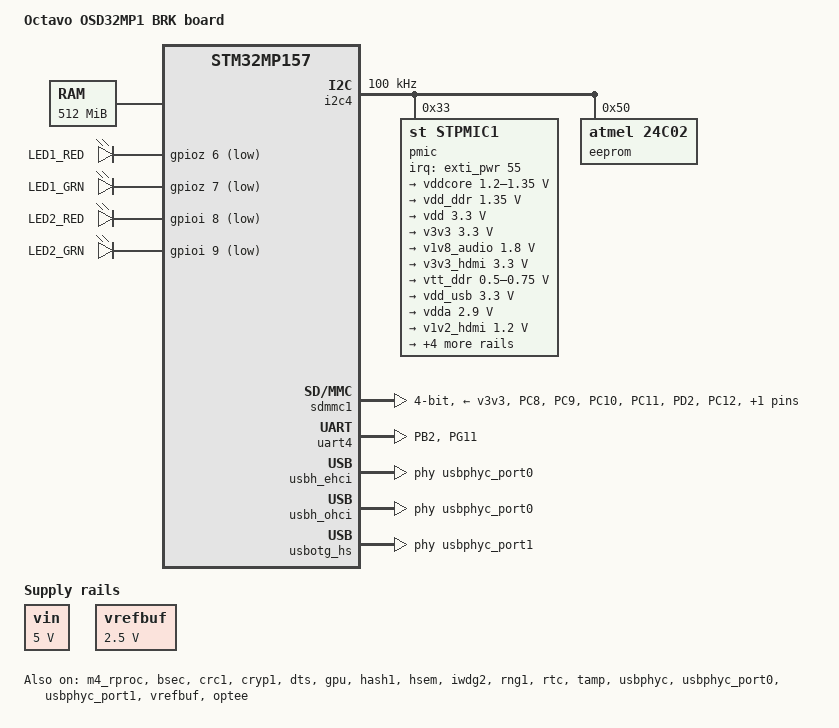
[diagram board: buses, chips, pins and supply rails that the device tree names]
/* SPDX-License-Identifier: (GPL-2.0+ OR BSD-3-Clause) */
/*
 * Copyright (C) STMicroelectronics 2020 - All Rights Reserved
 * Author: STM32CubeMX code generation for STMicroelectronics.
 */

/* For more information on Device Tree configuration, please refer to
 * https://wiki.st.com/stm32mpu/wiki/Category:Device_tree_configuration
 */

/dts-v1/;
#include <dt-bindings/pinctrl/stm32-pinfunc.h>

#include "stm32mp157.dtsi"
#include "stm32mp15xc.dtsi"
#include "stm32mp15xxac-pinctrl.dtsi"
#include "stm32mp157-m4-srm.dtsi"

/* USER CODE BEGIN includes */
#include <dt-bindings/mfd/st,stpmic1.h>
#include <dt-bindings/rtc/rtc-stm32.h>
/* USER CODE END includes */

/ {
	model = "Octavo OSD32MP1 BRK board";
	compatible = "st,stm32mp157c-osd32mp1-brk", "st,stm32mp157";

	memory@c0000000 {
		device_type = "memory";
		reg = <0xc0000000 0x20000000>;

		/* USER CODE BEGIN memory */
		/* USER CODE END memory */
	};

	reserved-memory {
		#address-cells = <1>;
		#size-cells = <1>;
		ranges;

		/* USER CODE BEGIN reserved-memory */

		mcuram2:mcuram2@10000000{
			compatible = "shared-dma-pool";
			reg = <0x10000000 0x40000>;
			no-map;
		};

		vdev0vring0:vdev0vring0@10040000{
			compatible = "shared-dma-pool";
			reg = <0x10040000 0x1000>;
			no-map;
		};

		vdev0vring1:vdev0vring1@10041000{
			compatible = "shared-dma-pool";
			reg = <0x10041000 0x1000>;
			no-map;
		};

		vdev0buffer:vdev0buffer@10042000{
			compatible = "shared-dma-pool";
			reg = <0x10042000 0x4000>;
			no-map;
		};

		mcuram:mcuram@30000000{
			compatible = "shared-dma-pool";
			reg = <0x30000000 0x40000>;
			no-map;
		};

		retram:retram@38000000{
			compatible = "shared-dma-pool";
			reg = <0x38000000 0x10000>;
			no-map;
		};

		gpu_reserved:gpu@da000000{
			reg = <0xda000000 0x4000000>;
			no-map;
		};

		optee_memory:optee@0xde000000{
			reg = <0xde000000 0x02000000>;
			no-map;
			status = "okay";
		};
		/* USER CODE END reserved-memory */
	};

	/* USER CODE BEGIN root */

	led{
		compatible = "gpio-leds";

		red1{
			label = "LED1_RED";
			gpios = <&gpioz 6 GPIO_ACTIVE_LOW>;
			linux,default-trigger = "heartbeat";
			status = "okay";
			default-state = "off";
		};
		
		green1{
			label = "LED1_GRN";
			gpios = <&gpioz 7 GPIO_ACTIVE_LOW>;
			status = "okay";
			default-state = "on";
		};
		
		red2{
			label = "LED2_RED";
			gpios = <&gpioi 8 GPIO_ACTIVE_LOW>;
			status = "okay";
			default-state = "off";
		};
				
		green2{
			label = "LED2_GRN";
			gpios = <&gpioi 9 GPIO_ACTIVE_LOW>;
			default-state = "off";
		};
	};

	usb_phy_tuning:usb-phy-tuning{
		st,hs-dc-level = <2>;
		st,fs-rftime-tuning;
		st,hs-rftime-reduction;
		st,hs-current-trim = <15>;
		st,hs-impedance-trim = <1>;
		st,squelch-level = <3>;
		st,hs-rx-offset = <2>;
		st,no-lsfs-sc;
	};

	vin:vin{
		compatible = "regulator-fixed";
		regulator-name = "vin";
		regulator-min-microvolt = <5000000>;
		regulator-max-microvolt = <5000000>;
		regulator-always-on;
	};

	aliases{
		ethernet0 = &ethernet0;
		serial0 = &uart4;
	};

	chosen{
		stdout-path = "serial0:115200n8";
	};

	/* USER CODE END root */

	clocks {

		/* USER CODE BEGIN clocks */
		/* USER CODE END clocks */

#ifndef CONFIG_STM32MP1_TRUSTED
		clk_lsi: clk-lsi {
			clock-frequency = <32000>;
		};
		clk_hsi: clk-hsi {
			clock-frequency = <64000000>;
		};
		clk_csi: clk-csi {
			clock-frequency = <4000000>;
		};
		clk_lse: clk-lse {
			clock-frequency = <32768>;
		};
		clk_hse: clk-hse {
			clock-frequency = <24000000>;
		};
#endif	/*CONFIG_STM32MP1_TRUSTED*/
	};

}; /*root*/

&pinctrl {
	u-boot,dm-pre-reloc;

	rtc_pins_mx: rtc_mx-0 {
		pins {
			pinmux = <STM32_PINMUX('I', 8, ANALOG)>; /* RTC_LSCO */
		};
	};

	rtc_sleep_pins_mx: rtc_sleep_mx-0 {
		pins {
			pinmux = <STM32_PINMUX('I', 8, ANALOG)>; /* RTC_LSCO */
		};
	};

	sdmmc1_pins_mx: sdmmc1_mx-0 {
		u-boot,dm-pre-reloc;
		pins1 {
			u-boot,dm-pre-reloc;
			pinmux = <STM32_PINMUX('C', 8, AF12)>, /* SDMMC1_D0 */
					 <STM32_PINMUX('C', 9, AF12)>, /* SDMMC1_D1 */
					 <STM32_PINMUX('C', 10, AF12)>, /* SDMMC1_D2 */
					 <STM32_PINMUX('C', 11, AF12)>, /* SDMMC1_D3 */
					 <STM32_PINMUX('D', 2, AF12)>; /* SDMMC1_CMD */
			bias-disable;
			drive-push-pull;
			slew-rate = <1>;
		};
		pins2 {
			u-boot,dm-pre-reloc;
			pinmux = <STM32_PINMUX('C', 12, AF12)>; /* SDMMC1_CK */
			bias-disable;
			drive-push-pull;
			slew-rate = <2>;
		};
	};

	sdmmc1_opendrain_pins_mx: sdmmc1_opendrain_mx-0 {
		u-boot,dm-pre-reloc;
		pins1 {
			u-boot,dm-pre-reloc;
			pinmux = <STM32_PINMUX('C', 8, AF12)>, /* SDMMC1_D0 */
					 <STM32_PINMUX('C', 9, AF12)>, /* SDMMC1_D1 */
					 <STM32_PINMUX('C', 10, AF12)>, /* SDMMC1_D2 */
					 <STM32_PINMUX('C', 11, AF12)>; /* SDMMC1_D3 */
			bias-disable;
			drive-push-pull;
			slew-rate = <1>;
		};
		pins2 {
			u-boot,dm-pre-reloc;
			pinmux = <STM32_PINMUX('C', 12, AF12)>; /* SDMMC1_CK */
			bias-disable;
			drive-push-pull;
			slew-rate = <2>;
		};
		pins3 {
			u-boot,dm-pre-reloc;
			pinmux = <STM32_PINMUX('D', 2, AF12)>; /* SDMMC1_CMD */
			bias-disable;
			drive-open-drain;
			slew-rate = <1>;
		};
	};

	sdmmc1_sleep_pins_mx: sdmmc1_sleep_mx-0 {
		u-boot,dm-pre-reloc;
		pins {
			u-boot,dm-pre-reloc;
			pinmux = <STM32_PINMUX('C', 8, ANALOG)>, /* SDMMC1_D0 */
					 <STM32_PINMUX('C', 9, ANALOG)>, /* SDMMC1_D1 */
					 <STM32_PINMUX('C', 10, ANALOG)>, /* SDMMC1_D2 */
					 <STM32_PINMUX('C', 11, ANALOG)>, /* SDMMC1_D3 */
					 <STM32_PINMUX('C', 12, ANALOG)>, /* SDMMC1_CK */
					 <STM32_PINMUX('D', 2, ANALOG)>; /* SDMMC1_CMD */
		};
	};

	uart4_pins_mx: uart4_mx-0 {
		u-boot,dm-pre-reloc;
		pins1 {
			u-boot,dm-pre-reloc;
			pinmux = <STM32_PINMUX('B', 2, AF8)>; /* UART4_RX */
			bias-disable;
		};
		pins2 {
			u-boot,dm-pre-reloc;
			pinmux = <STM32_PINMUX('G', 11, AF6)>; /* UART4_TX */
			bias-disable;
			drive-push-pull;
			slew-rate = <0>;
		};
	};

	uart4_sleep_pins_mx: uart4_sleep_mx-0 {
		u-boot,dm-pre-reloc;
		pins {
			u-boot,dm-pre-reloc;
			pinmux = <STM32_PINMUX('B', 2, ANALOG)>, /* UART4_RX */
					 <STM32_PINMUX('G', 11, ANALOG)>; /* UART4_TX */
		};
	};

	/* USER CODE BEGIN pinctrl */
	/* USER CODE END pinctrl */
};

&pinctrl_z {
	u-boot,dm-pre-reloc;

	i2c4_pins_z_mx: i2c4_mx-0 {
		u-boot,dm-pre-reloc;
		pins {
			u-boot,dm-pre-reloc;
			pinmux = <STM32_PINMUX('Z', 4, AF6)>, /* I2C4_SCL */
					 <STM32_PINMUX('Z', 5, AF6)>; /* I2C4_SDA */
			bias-disable;
			drive-open-drain;
			slew-rate = <0>;
		};
	};

	i2c4_sleep_pins_z_mx: i2c4_sleep_mx-0 {
		u-boot,dm-pre-reloc;
		pins {
			u-boot,dm-pre-reloc;
			pinmux = <STM32_PINMUX('Z', 4, ANALOG)>, /* I2C4_SCL */
					 <STM32_PINMUX('Z', 5, ANALOG)>; /* I2C4_SDA */
		};
	};

	/* USER CODE BEGIN pinctrl_z */
	/* USER CODE END pinctrl_z */
};

&m4_rproc{
	/*Restriction: "memory-region" property is not managed - please to use User-Section if needed*/
	mboxes = <&ipcc 0>, <&ipcc 1>, <&ipcc 2>;
	mbox-names = "vq0", "vq1", "shutdown";
	status = "okay";

	/* USER CODE BEGIN m4_rproc */
	memory-region = <&retram>, <&mcuram>, <&mcuram2>, <&vdev0vring0>,
			<&vdev0vring1>, <&vdev0buffer>;
	interrupt-parent = <&exti>;
	interrupts = <68 1>;
	wakeup-source;
	/* USER CODE END m4_rproc */
};

&bsec{
	status = "okay";

	/* USER CODE BEGIN bsec */
	/* USER CODE END bsec */
};

&crc1{
	status = "okay";

	/* USER CODE BEGIN crc1 */
	/* USER CODE END crc1 */
};

&cryp1{
	u-boot,dm-pre-reloc;
	status = "okay";

	/* USER CODE BEGIN cryp1 */
	/* USER CODE END cryp1 */
};

&dma1{
	status = "okay";

	/* USER CODE BEGIN dma1 */
	sram = <&dma_pool>;
	/* USER CODE END dma1 */
};

&dma2{
	status = "okay";

	/* USER CODE BEGIN dma2 */
	sram = <&dma_pool>;
	/* USER CODE END dma2 */
};

&dmamux1{

	dma-masters = <&dma1 &dma2>;
	dma-channels = <16>;

	status = "okay";

	/* USER CODE BEGIN dmamux1 */
	/* USER CODE END dmamux1 */
};

&dts{
	status = "okay";

	/* USER CODE BEGIN dts */
	/* USER CODE END dts */
};

&gpu{
	status = "okay";

	/* USER CODE BEGIN gpu */
	contiguous-area = <&gpu_reserved>;
	/* USER CODE END gpu */
};

&hash1{
	u-boot,dm-pre-reloc;
	status = "okay";

	/* USER CODE BEGIN hash1 */
	/* USER CODE END hash1 */
};

&hsem{
	status = "okay";

	/* USER CODE BEGIN hsem */
	/* USER CODE END hsem */
};

&i2c4{
	u-boot,dm-pre-reloc;
	pinctrl-names = "default", "sleep";
	pinctrl-0 = <&i2c4_pins_z_mx>;
	pinctrl-1 = <&i2c4_sleep_pins_z_mx>;
	status = "okay";

	/* USER CODE BEGIN i2c4 */
	i2c-scl-rising-time-ns = <185>;
	i2c-scl-falling-time-ns = <20>;
	clock-frequency = <100000>;
	/delete-property/ dmas;
	/delete-property/ dma-names;

	pmic:stpmic@33{
		compatible = "st,stpmic1";
		reg = <0x33>;
		interrupts-extended = <&exti_pwr 55 IRQ_TYPE_EDGE_FALLING>;
		interrupt-controller;
		#interrupt-cells = <2>;
		status = "okay";

		regulators{
			compatible = "st,stpmic1-regulators";
			buck1-supply = <&vin>;
			buck2-supply = <&vin>;
			buck3-supply = <&vin>;
			buck4-supply = <&vin>;
			ldo1-supply = <&v3v3>;
			ldo2-supply = <&vin>;
			ldo3-supply = <&vdd_ddr>;
			ldo4-supply = <&vin>;
			ldo5-supply = <&vin>;
			ldo6-supply = <&v3v3>;
			vref_ddr-supply = <&vin>;
			boost-supply = <&vin>;
			pwr_sw1-supply = <&bst_out>;
			pwr_sw2-supply = <&bst_out>;

			vddcore:buck1{
				regulator-name = "vddcore";
				regulator-min-microvolt = <1200000>;
				regulator-max-microvolt = <1350000>;
				regulator-always-on;
				regulator-initial-mode = <0>;
				regulator-over-current-protection;
			};

			vdd_ddr:buck2{
				regulator-name = "vdd_ddr";
				regulator-min-microvolt = <1350000>;
				regulator-max-microvolt = <1350000>;
				regulator-always-on;
				regulator-initial-mode = <0>;
				regulator-over-current-protection;
			};

			vdd:buck3{
				regulator-name = "vdd";
				regulator-min-microvolt = <3300000>;
				regulator-max-microvolt = <3300000>;
				regulator-always-on;
				st,mask-reset;
				regulator-initial-mode = <0>;
				regulator-over-current-protection;
			};

			v3v3:buck4{
				regulator-name = "v3v3";
				regulator-min-microvolt = <3300000>;
				regulator-max-microvolt = <3300000>;
				regulator-always-on;
				regulator-over-current-protection;
				regulator-initial-mode = <0>;
			};

			v1v8_audio:ldo1{
				regulator-name = "v1v8_audio";
				regulator-min-microvolt = <1800000>;
				regulator-max-microvolt = <1800000>;
				regulator-always-on;
				interrupts = <IT_CURLIM_LDO1 0>;
			};

			v3v3_hdmi:ldo2{
				regulator-name = "v3v3_hdmi";
				regulator-min-microvolt = <3300000>;
				regulator-max-microvolt = <3300000>;
				regulator-always-on;
				interrupts = <IT_CURLIM_LDO2 0>;
			};

			vtt_ddr:ldo3{
				regulator-name = "vtt_ddr";
				regulator-min-microvolt = <500000>;
				regulator-max-microvolt = <750000>;
				regulator-always-on;
				regulator-over-current-protection;
			};

			vdd_usb:ldo4{
				regulator-name = "vdd_usb";
				regulator-min-microvolt = <3300000>;
				regulator-max-microvolt = <3300000>;
				interrupts = <IT_CURLIM_LDO4 0>;
				regulator-always-on;
			};

			vdda:ldo5{
				regulator-name = "vdda";
				regulator-min-microvolt = <2900000>;
				regulator-max-microvolt = <2900000>;
				interrupts = <IT_CURLIM_LDO5 0>;
				regulator-boot-on;
			};

			v1v2_hdmi:ldo6{
				regulator-name = "v1v2_hdmi";
				regulator-min-microvolt = <1200000>;
				regulator-max-microvolt = <1200000>;
				regulator-always-on;
				interrupts = <IT_CURLIM_LDO6 0>;
			};

			vref_ddr:vref_ddr{
				regulator-name = "vref_ddr";
				regulator-always-on;
				regulator-over-current-protection;
			};

			bst_out:boost{
				regulator-name = "bst_out";
				interrupts = <IT_OCP_BOOST 0>;
			};

			vbus_otg:pwr_sw1{
				regulator-name = "vbus_otg";
				interrupts = <IT_OCP_OTG 0>;
			};

			vbus_sw:pwr_sw2{
				regulator-name = "vbus_sw";
				interrupts = <IT_OCP_SWOUT 0>;
				regulator-active-discharge = <1>;
			};
		};

		onkey{
			compatible = "st,stpmic1-onkey";
			interrupts = <IT_PONKEY_F 0>, <IT_PONKEY_R 0>;
			interrupt-names = "onkey-falling", "onkey-rising";
			power-off-time-sec = <10>;
			status = "okay";
		};

		watchdog {
			compatible = "st,stpmic1-wdt";
			status = "disabled";
		};
	};
	eeprom@50 {
		compatible = "atmel,24c02";
		reg = <0x50>;
		pagesize = <16>;
	};
	/* USER CODE END i2c4 */
};

&ipcc{
	status = "okay";

	/* USER CODE BEGIN ipcc */
	/* USER CODE END ipcc */
};

&iwdg2{
	status = "okay";

	/* USER CODE BEGIN iwdg2 */
	timeout-sec = <32>;
	/* USER CODE END iwdg2 */
};

&mdma1{
	status = "okay";

	/* USER CODE BEGIN mdma1 */
	/* USER CODE END mdma1 */
};

&rcc{
	u-boot,dm-pre-reloc;
	status = "okay";

	/* USER CODE BEGIN rcc */
	/* USER CODE END rcc */
};

&rng1{
	status = "okay";

	/* USER CODE BEGIN rng1 */
	/* USER CODE END rng1 */
};

&rtc{
	pinctrl-names = "default", "sleep";
	pinctrl-0 = <&rtc_pins_mx>;
	pinctrl-1 = <&rtc_sleep_pins_mx>;
	status = "okay";

	/* USER CODE BEGIN rtc */
	st,lsco = <RTC_OUT2_RMP>;
	/* USER CODE END rtc */
};

&sdmmc1{
	u-boot,dm-pre-reloc;
	pinctrl-names = "default", "opendrain", "sleep";
	pinctrl-0 = <&sdmmc1_pins_mx>;
	pinctrl-1 = <&sdmmc1_opendrain_pins_mx>;
	pinctrl-2 = <&sdmmc1_sleep_pins_mx>;
	status = "okay";

	/* USER CODE BEGIN sdmmc1 */
	cd-gpios = <&gpiog 7 (GPIO_ACTIVE_LOW | GPIO_PULL_UP)>;
	disable-wp;
	st,neg-edge;
	bus-width = <4>;
	vmmc-supply = <&v3v3>;
	/* USER CODE END sdmmc1 */
};

&tamp{
	status = "okay";

	/* USER CODE BEGIN tamp */
	/* USER CODE END tamp */
};

&uart4{
	u-boot,dm-pre-reloc;
	pinctrl-names = "default", "sleep";
	pinctrl-0 = <&uart4_pins_mx>;
	pinctrl-1 = <&uart4_sleep_pins_mx>;
	status = "okay";

	/* USER CODE BEGIN uart4 */
	/delete-property/ dmas;
	/delete-property/ dma-names;
	/* USER CODE END uart4 */
};

&usbh_ehci{
	status = "okay";

	/* USER CODE BEGIN usbh_ehci */
	phys = <&usbphyc_port0>;
	/* USER CODE END usbh_ehci */
};

&usbh_ohci{
	status = "okay";

	/* USER CODE BEGIN usbh_ohci */
	/* USER CODE END usbh_ohci */
};

&usbotg_hs{
	u-boot,dm-pre-reloc;
	status = "okay";

	/* USER CODE BEGIN usbotg_hs */
	phys = <&usbphyc_port1 0>;
	phy-names = "usb2-phy";
	/* USER CODE END usbotg_hs */
};

&usbphyc{
	u-boot,dm-pre-reloc;
	status = "okay";

	/* USER CODE BEGIN usbphyc */
	/* USER CODE END usbphyc */
};

&usbphyc_port0{
	u-boot,dm-pre-reloc;
	status = "okay";

	/* USER CODE BEGIN usbphyc_port0 */
	phy-supply = <&vdd_usb>;
	st,phy-tuning = <&usb_phy_tuning>;
	/* USER CODE END usbphyc_port0 */
};

&usbphyc_port1{
	u-boot,dm-pre-reloc;
	status = "okay";

	/* USER CODE BEGIN usbphyc_port1 */
	phy-supply = <&vdd_usb>;
	st,phy-tuning = <&usb_phy_tuning>;
	/* USER CODE END usbphyc_port1 */
};

&vrefbuf{
	status = "okay";

	/* USER CODE BEGIN vrefbuf */
	regulator-min-microvolt = <2500000>;
	regulator-max-microvolt = <2500000>;
	vdda-supply = <&vdd>;
	/* USER CODE END vrefbuf */
};

/* USER CODE BEGIN addons */
&adc {
	status = "disabled";
};

&usbh_ohci{
	phys = <&usbphyc_port0>;
};

&cpu0{
	cpu-supply = <&vddcore>;
};

&cpu1{
	cpu-supply = <&vddcore>;
};

&sram{

	dma_pool:dma_pool@0{
		reg = <0x50000 0x10000>;
		pool;
	};
};

&optee{
	status = "okay";
};
/* USER CODE END addons */

